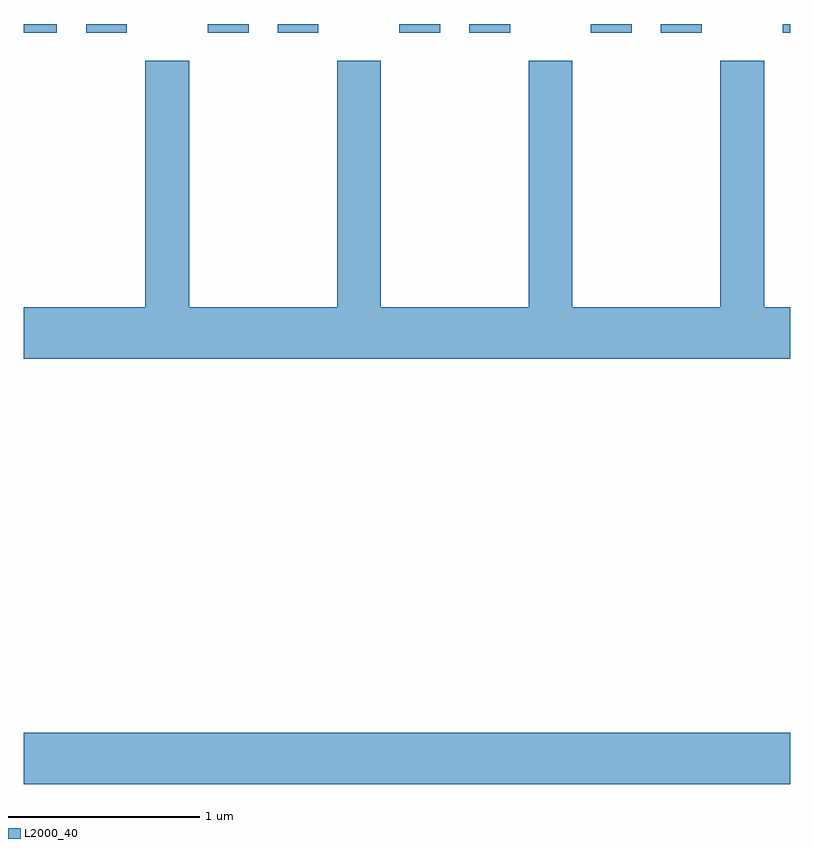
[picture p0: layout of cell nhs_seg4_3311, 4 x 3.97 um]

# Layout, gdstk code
import gdstk
lib = gdstk.Library(unit=1e-6, precision=1e-09)
def R(c, l, rs):  # rectangles x0, y0, x1, y1
    for r in rs: c.add(gdstk.rectangle(r[:2], r[2:], *l))
def P(c, l, *ps):  # polygons
    for p in ps: c.add(gdstk.Polygon(p, *l))
L2000_40 = (2000, 40)

nhs_seg4_3311 = lib.new_cell('nhs_seg4_3311')
R(nhs_seg4_3311, L2000_40, [(281.611,1348.016,285.611,1348.284), (281.611,1351.936,281.784,1351.982), (281.936,1351.936,282.149,1351.982), (282.571,1351.936,282.784,1351.982), (282.936,1351.936,283.149,1351.982), (283.571,1351.936,283.784,1351.982), (283.936,1351.936,284.149,1351.982), (284.571,1351.936,284.784,1351.982), (284.936,1351.936,285.149,1351.982), (285.571,1351.936,285.611,1351.982)])
P(nhs_seg4_3311, L2000_40, [(285.611,1350.504),(285.474,1350.504),(285.474,1351.789),(285.246,1351.789),(285.246,1350.504),(284.474,1350.504),(284.474,1351.789),(284.246,1351.789),(284.246,1350.504),(283.474,1350.504),(283.474,1351.789),(283.246,1351.789),(283.246,1350.504),(282.474,1350.504),(282.474,1351.789),(282.246,1351.789),(282.246,1350.504),(281.611,1350.504),(281.611,1350.236),(285.611,1350.236)])

lib.write_gds('nhs_seg4_3311.gds')
